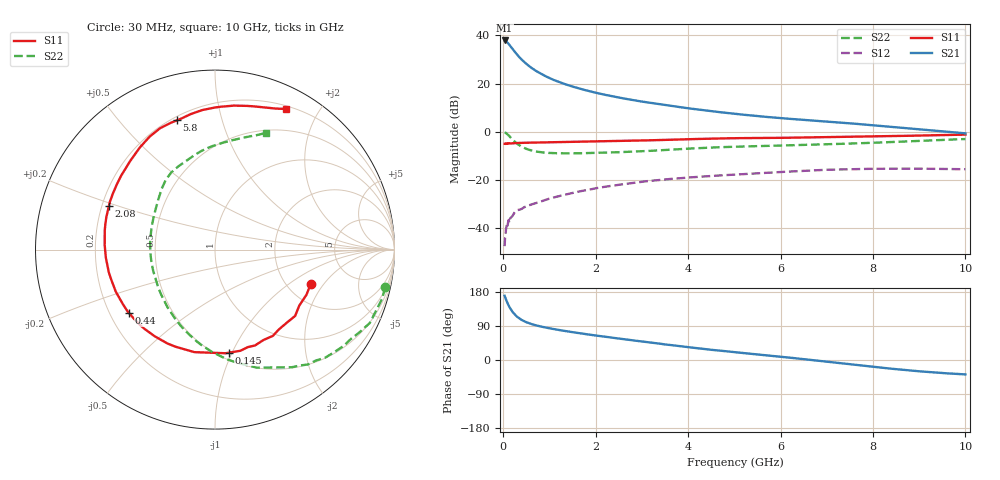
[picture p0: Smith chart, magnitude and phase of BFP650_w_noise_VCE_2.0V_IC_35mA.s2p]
! Infineon Technologies  Discrete & RF Semiconductors
! BFP650
! VCE =  2.0 V,  IC =  35 mA
! Common Emitter S-Parameters:  Jan 2016
# GHz  S  MA  R  50
!  f  S11  S21  S12  S22
! GHz  MAG  ANG  MAG  ANG  MAG  ANG  MAG  ANG
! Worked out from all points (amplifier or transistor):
!   229 points, 30 MHz to 10 GHz, reference 50 ohm
!   highest |S21| = 37.9 dB at 30 MHz (marker M1)
!   |S21| within 3 dB of that: start of sweep to 180.9 MHz
!   unconditionally stable (mu >= 1): 2.205 GHz to end of sweep
!   at 280 MHz: K = 0.37, MSG = 32.6 dB, |S12| = -32.7 dB
!   at 1.78 GHz: K = 0.97, MSG = 20.7 dB, |S12| = -24.2 dB
!   at 10 GHz: K = 1.04, MAG = 6.3 dB, |S12| = -15.5 dB
!   lowest NFmin = 0.81 dB at 450 MHz
!   S11 on the Smith chart (normalised r, x): 30 MHz: 2.68, -1.50; 145 MHz: 0.56, -0.97; 440 MHz: 0.28, -0.30; 2.08 GHz: 0.23, +0.19; 5.8 GHz: 0.22, +0.72; 10 GHz: 0.23, +1.60
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0.03  0.5669 -19.6  78.38 169.5  0.0043 91.8  0.9723 -12.5
0.04  0.5683 -26.3  78.1 166.0  0.0065 85.4  0.9699 -16.6
0.05  0.5638 -33.6  76.48 162.5  0.0071 70.2  0.9596 -21.1
0.06  0.5795 -39.6  76.03 159.8  0.0097 77.1  0.9544 -25.4
0.08  0.5699 -51.8  72.94 153.6  0.012 62.6  0.9059 -33.4
0.11  0.5788 -67.4  67.95 145.5  0.0145 70.6  0.8596 -44.5
0.145  0.5795 -82.3  61.58 137.5  0.0155 62.6  0.7913 -55.3
0.2  0.5828 -101.4  52.56 127.0  0.0181 52.0  0.6979 -70.5
0.26  0.5863 -116.7  44.45 118.7  0.0223 49.4  0.6152 -83.7
0.34  0.5908 -131.3  36.09 110.5  0.0243 48.1  0.537 -98.1
0.44  0.5955 -143.8  28.89 103.2  0.027 47.2  0.4727 -112.2
0.6  0.6004 -157.1  21.57 95.3  0.0312 47.1  0.4158 -129.6
0.9  0.6064 -172.0  14.46 86.1  0.0387 47.5  0.372 -151.7
1.26  0.6159 176.5  10.35 78.1  0.0481 48.4  0.3606 -168.8
1.7  0.6282 165.7  7.657 69.9  0.06 47.0  0.3622 176.3
2.08  0.6389 157.8  6.239 63.4  0.0702 44.3  0.368 166.4
3.4  0.6789 135.3  3.721 42.9  0.1016 32.9  0.4163 140.1
5.1  0.7429 113.3  2.322 19.5  0.1321 17.5  0.4967 118.2
5.8  0.7508 106.4  2.005 11.0  0.144 11.3  0.5155 109.6
6.8  0.7747 97.1  1.695 -1.6  0.1611 1.1  0.5484 99.4
8.4  0.8201 77.5  1.271 -23.0  0.1729 -16.1  0.6166 81.1
10  0.8788 63.1  0.934 -38.0  0.1687 -28.4  0.7106 66.5
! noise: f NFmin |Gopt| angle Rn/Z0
0.45  0.81  0.09  148  1.85
0.9  0.85  0.32  -170  0.08
1.9  0.98  0.37  -157  0.07
2.4  1.06  0.38  -146  0.07
3.5  1.26  0.4  -123  0.13
